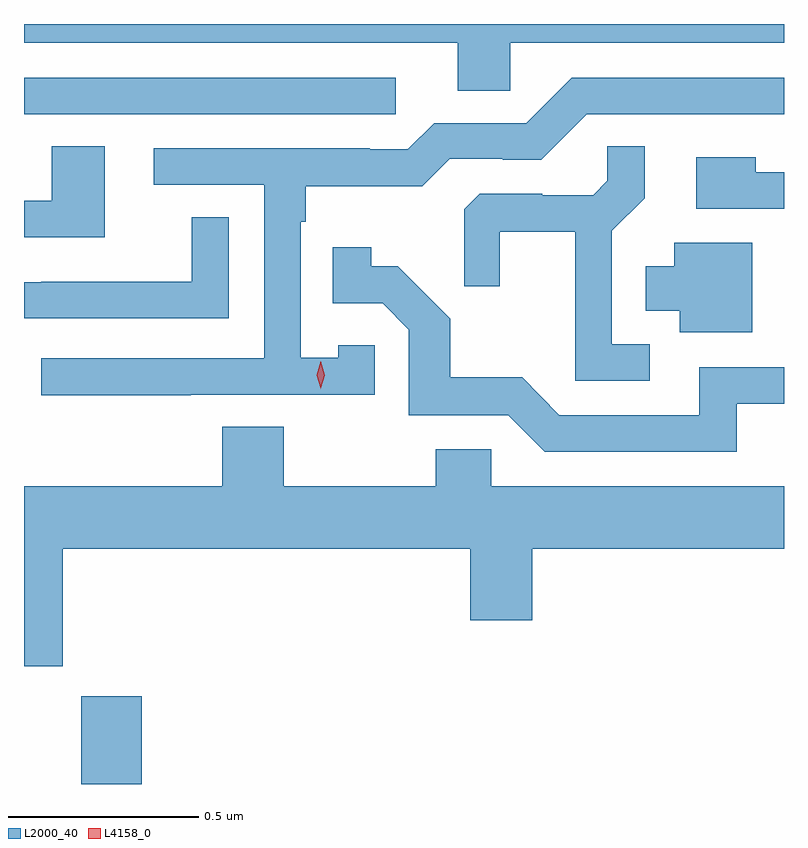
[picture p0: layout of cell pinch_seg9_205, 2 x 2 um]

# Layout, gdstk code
import gdstk
lib = gdstk.Library(unit=1e-6, precision=1e-09)
def R(c, l, rs):  # rectangles x0, y0, x1, y1
    for r in rs: c.add(gdstk.rectangle(r[:2], r[2:], *l))
def P(c, l, *ps):  # polygons
    for p in ps: c.add(gdstk.Polygon(p, *l))
L2000_40 = (2000, 40)
L4158_0 = (4158, 0)

pinch_seg9_205 = lib.new_cell('pinch_seg9_205')
R(pinch_seg9_205, L2000_40, [(523.624,1234.429,523.784,1234.66), (523.474,1236.192,524.452,1236.288)])
P(pinch_seg9_205, L2000_40, [(523.474,1236.38),(524.615,1236.38),(524.615,1236.253),(524.754,1236.253),(524.754,1236.38),(525.474,1236.38),(525.474,1236.429),(523.474,1236.429)],
  [(523.913,1235.454),(524.397,1235.454),(524.397,1235.583),(524.301,1235.583),(524.301,1235.551),(524.202,1235.551),(524.202,1235.909),(524.215,1235.909),(524.215,1236.002),(524.522,1236.002),(524.595,1236.075),(524.734,1236.075),(524.734,1236.072),(524.835,1236.072),(524.955,1236.192),(525.474,1236.192),(525.474,1236.288),(524.916,1236.288),(524.796,1236.168),(524.553,1236.168),(524.484,1236.099),(524.384,1236.099),(524.384,1236.102),(523.815,1236.102),(523.815,1236.006),(524.106,1236.006),(524.106,1235.55),(523.52,1235.55),(523.52,1235.452),(523.913,1235.452)],
  [(523.687,1236.107),(523.547,1236.107),(523.547,1235.964),(523.474,1235.964),(523.474,1235.868),(523.687,1235.868)],
  [(525.121,1235.586),(525.021,1235.586),(525.021,1235.885),(525.107,1235.971),(525.107,1236.107),(525.009,1236.107),(525.009,1236.016),(524.972,1235.979),(524.838,1235.979),(524.838,1235.982),(524.673,1235.982),(524.632,1235.941),(524.632,1235.739),(524.726,1235.739),(524.726,1235.882),(524.924,1235.882),(524.924,1235.49),(525.121,1235.49)],
  [(525.474,1236.039),(525.399,1236.039),(525.399,1236.079),(525.243,1236.079),(525.243,1235.943),(525.474,1235.943)],
  [(524.013,1235.921),(523.915,1235.921),(523.915,1235.751),(523.519,1235.751),(523.519,1235.75),(523.474,1235.75),(523.474,1235.655),(524.013,1235.655)],
  [(525.391,1235.854),(525.185,1235.854),(525.185,1235.791),(525.11,1235.791),(525.11,1235.675),(525.2,1235.675),(525.2,1235.618),(525.391,1235.618)],
  [(525.35,1235.43),(525.474,1235.43),(525.474,1235.526),(525.251,1235.526),(525.251,1235.4),(524.883,1235.4),(524.785,1235.499),(524.596,1235.499),(524.596,1235.654),(524.458,1235.792),(524.388,1235.792),(524.388,1235.842),(524.287,1235.842),(524.287,1235.694),(524.418,1235.694),(524.487,1235.625),(524.487,1235.4),(524.748,1235.4),(524.844,1235.304),(525.35,1235.304)],
  [(523.576,1235.048),(524.648,1235.048),(524.648,1234.86),(524.812,1234.86),(524.812,1235.048),(525.474,1235.048),(525.474,1235.212),(524.703,1235.212),(524.703,1235.31),(524.557,1235.31),(524.557,1235.212),(524.157,1235.212),(524.157,1235.369),(523.996,1235.369),(523.996,1235.212),(523.474,1235.212),(523.474,1234.739),(523.576,1234.739)])
P(pinch_seg9_205, L4158_0, [(524.255,1235.469),(524.255,1235.47),(524.245,1235.505),(524.255,1235.541),(524.255,1235.541),(524.255,1235.541),(524.265,1235.505),(524.255,1235.47)])

lib.write_gds('pinch_seg9_205.gds')
